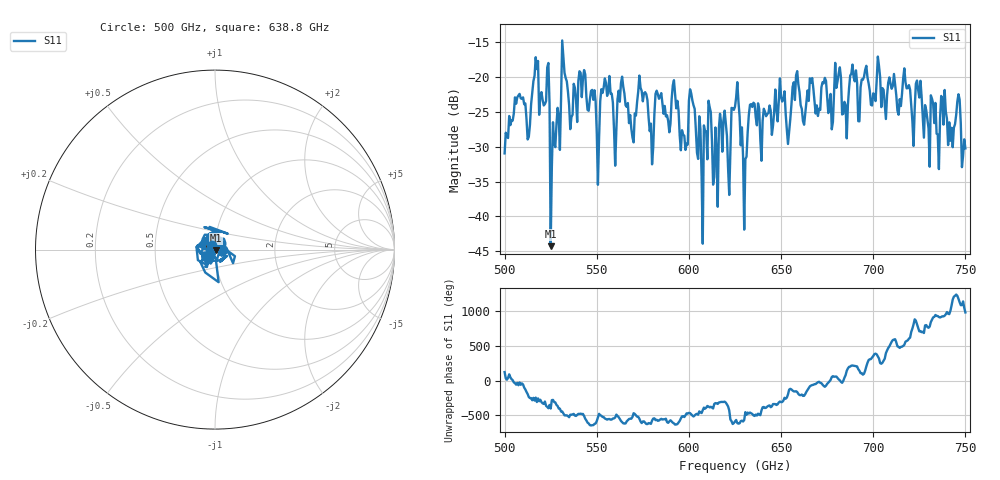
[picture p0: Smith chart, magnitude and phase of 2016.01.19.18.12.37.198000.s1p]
!Created with skrf (http://scikit-rf.org).
# GHz S RI R 50.0
!freq ReS11 ImS11
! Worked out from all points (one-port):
!   401 points, 500 GHz to 750 GHz, reference 50 ohm
!   lowest |S11| = -44.3 dB at 525 GHz (marker M1), VSWR 1.01, Z = 50.5 - j0.409 ohm
!   |S11| at or under -10 dB: start of sweep to end of sweep
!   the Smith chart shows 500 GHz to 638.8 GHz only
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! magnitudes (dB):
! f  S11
! 500 GHz  -31.0
! 506.9 GHz  -22.9
! 513.1 GHz  -28.6
! 516.9 GHz  -17.2
! 523.1 GHz  -18.6
! 525 GHz  -44.3
! 526.2 GHz  -26.5
! 531.2 GHz  -14.8
! 550.6 GHz  -35.5
! 553.8 GHz  -21.5
! 560 GHz  -32.7
! 562.5 GHz  -23.5
! 579.4 GHz  -26.7
! 583.1 GHz  -22.5
! 593.8 GHz  -23.4
! 598.1 GHz  -30.5
! 601.9 GHz  -23.4
! 606.2 GHz  -27.5
! 611.2 GHz  -24.3
! 614.4 GHz  -27.2
! 625 GHz  -24.3
! 630.6 GHz  -31.8
! 634.4 GHz  -24.3
! 656.2 GHz  -21.4
! 687.5 GHz  -19.8
! 718.8 GHz  -21.6
! 746.2 GHz  -22.5
! 750 GHz  -30.2
